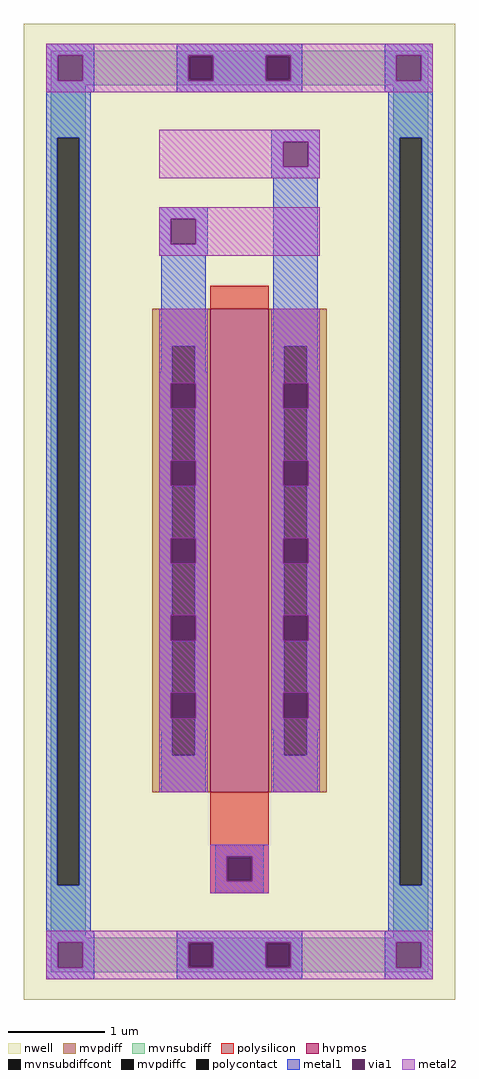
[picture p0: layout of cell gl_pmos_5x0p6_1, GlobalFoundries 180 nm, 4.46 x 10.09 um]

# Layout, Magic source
magic
tech gf180mcuD
magscale 1 10
<< nwell >>
rect -446 -1009 446 1009
<< hvpmos >>
rect -60 -581 60 419
<< mvpdiff >>
rect -180 342 -60 419
rect -180 -504 -139 342
rect -93 -504 -60 342
rect -180 -581 -60 -504
rect 60 342 180 419
rect 60 -504 93 342
rect 139 -504 180 342
rect 60 -581 180 -504
<< mvpdiffc >>
rect -139 -504 -93 342
rect 93 -504 139 342
<< mvnsubdiff >>
rect -390 940 390 953
rect -390 894 -103 940
rect -57 894 57 940
rect 103 894 390 940
rect -390 881 390 894
rect -390 773 -318 881
rect -390 -773 -377 773
rect -331 -773 -318 773
rect 318 773 390 881
rect -390 -881 -318 -773
rect 318 -773 331 773
rect 377 -773 390 773
rect 318 -881 390 -773
rect -390 -894 390 -881
rect -390 -940 -103 -894
rect -57 -940 57 -894
rect 103 -940 390 -894
rect -390 -953 390 -940
<< mvnsubdiffcont >>
rect -103 894 -57 940
rect 57 894 103 940
rect -377 -773 -331 773
rect 331 -773 377 773
rect -103 -940 -57 -894
rect 57 -940 103 -894
<< polysilicon >>
rect -60 419 60 467
rect -60 -716 60 -581
rect -60 -762 -23 -716
rect 23 -762 60 -716
rect -60 -789 60 -762
<< polycontact >>
rect -23 -762 23 -716
<< metal1 >>
rect -400 943 -300 967
rect -400 891 -376 943
rect -324 891 -300 943
rect -400 867 -300 891
rect -130 943 130 967
rect -130 891 -106 943
rect -54 891 54 943
rect 106 891 130 943
rect -130 867 130 891
rect 300 943 400 967
rect 300 891 324 943
rect 376 891 400 943
rect 300 867 400 891
rect -400 773 -308 867
rect -400 -773 -377 773
rect -331 -773 -308 773
rect 66 765 166 789
rect 66 713 90 765
rect 142 713 166 765
rect 66 689 166 713
rect 308 773 400 867
rect -166 605 -66 629
rect -166 553 -142 605
rect -90 553 -66 605
rect -166 529 -66 553
rect -162 342 -70 529
rect -162 289 -139 342
rect -166 265 -139 289
rect -93 289 -70 342
rect 70 342 162 689
rect 70 289 93 342
rect -93 265 -66 289
rect -166 213 -142 265
rect -90 213 -66 265
rect -166 105 -139 213
rect -93 105 -66 213
rect -166 53 -142 105
rect -90 53 -66 105
rect -166 -55 -139 53
rect -93 -55 -66 53
rect -166 -107 -142 -55
rect -90 -107 -66 -55
rect -166 -215 -139 -107
rect -93 -215 -66 -107
rect -166 -267 -142 -215
rect -90 -267 -66 -215
rect -166 -375 -139 -267
rect -93 -375 -66 -267
rect -166 -427 -142 -375
rect -90 -427 -66 -375
rect -166 -451 -139 -427
rect -162 -504 -139 -451
rect -93 -451 -66 -427
rect 66 265 93 289
rect 139 289 162 342
rect 139 265 166 289
rect 66 213 90 265
rect 142 213 166 265
rect 66 105 93 213
rect 139 105 166 213
rect 66 53 90 105
rect 142 53 166 105
rect 66 -55 93 53
rect 139 -55 166 53
rect 66 -107 90 -55
rect 142 -107 166 -55
rect 66 -215 93 -107
rect 139 -215 166 -107
rect 66 -267 90 -215
rect 142 -267 166 -215
rect 66 -375 93 -267
rect 139 -375 166 -267
rect 66 -427 90 -375
rect 142 -427 166 -375
rect 66 -451 93 -427
rect -93 -504 -70 -451
rect -162 -581 -70 -504
rect 70 -504 93 -451
rect 139 -451 166 -427
rect 139 -504 162 -451
rect 70 -581 162 -504
rect -400 -867 -308 -773
rect -50 -713 50 -689
rect -50 -765 -26 -713
rect 26 -765 50 -713
rect -50 -789 50 -765
rect 308 -773 331 773
rect 377 -773 400 773
rect 308 -867 400 -773
rect -400 -891 -300 -867
rect -400 -943 -376 -891
rect -324 -943 -300 -891
rect -400 -967 -300 -943
rect -130 -891 130 -867
rect -130 -943 -106 -891
rect -54 -943 54 -891
rect 106 -943 130 -891
rect -130 -967 130 -943
rect 300 -891 400 -867
rect 300 -943 324 -891
rect 376 -943 400 -891
rect 300 -967 400 -943
<< via1 >>
rect -376 891 -324 943
rect -106 940 -54 943
rect -106 894 -103 940
rect -103 894 -57 940
rect -57 894 -54 940
rect -106 891 -54 894
rect 54 940 106 943
rect 54 894 57 940
rect 57 894 103 940
rect 103 894 106 940
rect 54 891 106 894
rect 324 891 376 943
rect 90 713 142 765
rect -142 553 -90 605
rect -142 213 -139 265
rect -139 213 -93 265
rect -93 213 -90 265
rect -142 53 -139 105
rect -139 53 -93 105
rect -93 53 -90 105
rect -142 -107 -139 -55
rect -139 -107 -93 -55
rect -93 -107 -90 -55
rect -142 -267 -139 -215
rect -139 -267 -93 -215
rect -93 -267 -90 -215
rect -142 -427 -139 -375
rect -139 -427 -93 -375
rect -93 -427 -90 -375
rect 90 213 93 265
rect 93 213 139 265
rect 139 213 142 265
rect 90 53 93 105
rect 93 53 139 105
rect 139 53 142 105
rect 90 -107 93 -55
rect 93 -107 139 -55
rect 139 -107 142 -55
rect 90 -267 93 -215
rect 93 -267 139 -215
rect 139 -267 142 -215
rect 90 -427 93 -375
rect 93 -427 139 -375
rect 139 -427 142 -375
rect -26 -716 26 -713
rect -26 -762 -23 -716
rect -23 -762 23 -716
rect 23 -762 26 -716
rect -26 -765 26 -762
rect -376 -943 -324 -891
rect -106 -894 -54 -891
rect -106 -940 -103 -894
rect -103 -940 -57 -894
rect -57 -940 -54 -894
rect -106 -943 -54 -940
rect 54 -894 106 -891
rect 54 -940 57 -894
rect 57 -940 103 -894
rect 103 -940 106 -894
rect 54 -943 106 -940
rect 324 -943 376 -891
<< metal2 >>
rect -400 943 400 967
rect -400 891 -376 943
rect -324 891 -106 943
rect -54 891 54 943
rect 106 891 324 943
rect 376 891 400 943
rect -400 867 400 891
rect -166 765 166 789
rect -166 713 90 765
rect 142 713 166 765
rect -166 689 166 713
rect -166 605 166 629
rect -166 553 -142 605
rect -90 553 166 605
rect -166 529 166 553
rect -166 265 -66 419
rect -166 213 -142 265
rect -90 213 -66 265
rect -166 105 -66 213
rect -166 53 -142 105
rect -90 53 -66 105
rect -166 -55 -66 53
rect -166 -107 -142 -55
rect -90 -107 -66 -55
rect -166 -215 -66 -107
rect -166 -267 -142 -215
rect -90 -267 -66 -215
rect -166 -375 -66 -267
rect -166 -427 -142 -375
rect -90 -427 -66 -375
rect -166 -581 -66 -427
rect 66 265 166 419
rect 66 213 90 265
rect 142 213 166 265
rect 66 105 166 213
rect 66 53 90 105
rect 142 53 166 105
rect 66 -55 166 53
rect 66 -107 90 -55
rect 142 -107 166 -55
rect 66 -215 166 -107
rect 66 -267 90 -215
rect 142 -267 166 -215
rect 66 -375 166 -267
rect 66 -427 90 -375
rect 142 -427 166 -375
rect 66 -581 166 -427
rect -60 -713 60 -689
rect -60 -765 -26 -713
rect 26 -765 60 -713
rect -60 -789 60 -765
rect -400 -891 400 -867
rect -400 -943 -376 -891
rect -324 -943 -106 -891
rect -54 -943 54 -891
rect 106 -943 324 -891
rect 376 -943 400 -891
rect -400 -967 400 -943
<< end >>
